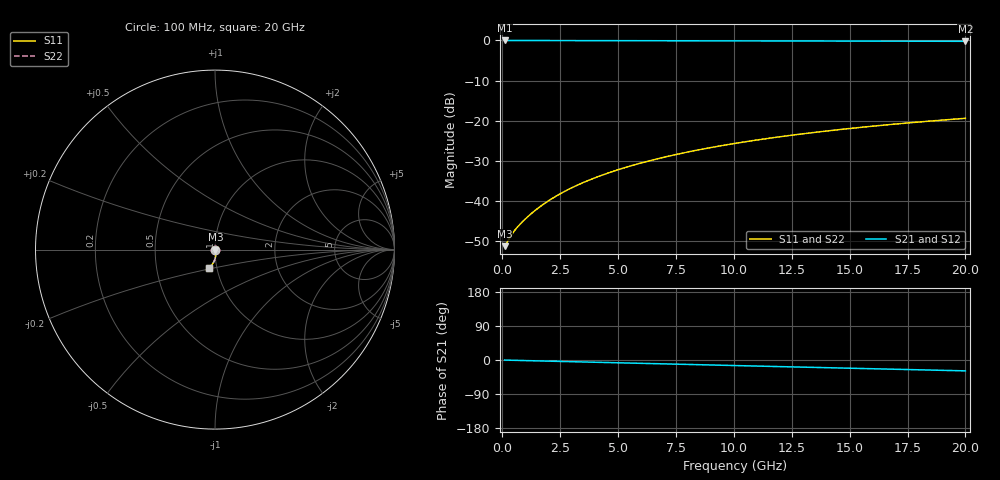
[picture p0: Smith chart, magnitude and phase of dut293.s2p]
! Touchstone file exported from HFSS 2026.1.0
!  File:  C:/ffzhzh/LocalFiles/Ansys_Project_Files/temp_train_BSMRDL_293_1782989334_40604.aedt
!  Generated:  06:49:58 PM Jul  2, 2026
!  Design:  BSMRDL
!  Project:  temp_train_BSMRDL_293_1782989334_40604
! Variables:
!  h_bsmrdl = 3.78um
!  h_ox = 20um
!  h_rdl = 5um
!  h_sub = 80um
!  h_tmrdl = 5um
!  h_tsv = 80um
!  h_via = 3um
!  l_bsmrdl = 498.57um
!  l_sub = 898.57um
!  l_tmrdl = 200um
!  m_sub = 200um
!  pitch = 20.98um
!  r_tsv = 6um
!  s_tmrdl = 10um
!  w_bsmrdl = 18.71um
!  w_sub = 500um
!  w_tmrdl = 12um
!  x_tsv_center1 = 206um
!  x_tsv_center2 = 723.28um
!  x_tsv_center3 = 935.28um
!  x_tsv_center4 = 1452.56um
!  x_tsv_center5 = 1664.56um
!  x_tsv_center6 = 2181.84um
# GHz S MA R 50.000000
! Terminal data exported
! Port[1] = BSM_RDL1_1_T1
! Port[2] = BSM_RDL1_1_T2
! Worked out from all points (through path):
!   200 points, 100 MHz to 20 GHz, reference 50 ohm
!   highest |S21| = -0.02 dB at 100 MHz (marker M1); lowest = -0.2 dB at 20 GHz (marker M2)
!   group delay of S21, straight-line fit = 3.96 ps
!   lowest |S11| = -51.2 dB at 100 MHz (marker M3), VSWR 1.01, Z = 50.3 + j0.0104 ohm
!   |S11| at or under -10 dB: start of sweep to end of sweep
!   |S22| runs from -51.2 to -19.4 dB; largest |S21 - S12| = 2.7e-15
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0.1  0.002741 2.2  0.9973 -0.2  0.9973 -0.2  0.002741 2.2
! Gamma 0 0 0 0
! Port Impedance 50 0 50 0
0.4  0.003802 -7.1  0.9962 -0.7  0.9962 -0.7  0.003803 -7.1
0.6  0.004542 -18.0  0.9957 -1.0  0.9957 -1.0  0.004544 -18.0
0.8  0.005265 -27.7  0.9953 -1.3  0.9953 -1.3  0.005267 -27.7
1  0.006003 -35.6  0.995 -1.6  0.995 -1.6  0.006006 -35.6
1.4  0.007559 -47.3  0.9946 -2.2  0.9946 -2.2  0.007565 -47.3
1.9  0.009645 -56.7  0.9943 -2.9  0.9943 -2.9  0.009654 -56.7
2.4  0.01185 -62.9  0.9939 -3.6  0.9939 -3.6  0.01186 -62.8
2.9  0.01415 -67.3  0.9935 -4.4  0.9935 -4.4  0.01416 -67.2
3.5  0.017 -71.1  0.9929 -5.3  0.9929 -5.3  0.01702 -71.0
4.2  0.02044 -74.5  0.9922 -6.3  0.9922 -6.3  0.02047 -74.3
5  0.02452 -77.4  0.9913 -7.5  0.9913 -7.5  0.02455 -77.3
5.9  0.02924 -80.2  0.9902 -8.8  0.9902 -8.8  0.02928 -80.0
6.8  0.03408 -82.7  0.9891 -10.1  0.9891 -10.1  0.03414 -82.4
7.6  0.03847 -84.6  0.9881 -11.2  0.9881 -11.2  0.03853 -84.4
8.4  0.0429 -86.5  0.9872 -12.4  0.9872 -12.4  0.04298 -86.2
10.1  0.05244 -90.2  0.9851 -14.8  0.9851 -14.8  0.05254 -89.8
11.7  0.06146 -93.4  0.9832 -17.0  0.9832 -17.0  0.06159 -93.0
13.4  0.07103 -96.7  0.9812 -19.4  0.9812 -19.4  0.07118 -96.3
15  0.07995 -99.7  0.9793 -21.7  0.9793 -21.7  0.08014 -99.2
16.7  0.08932 -102.7  0.9773 -24.1  0.9773 -24.1  0.08953 -102.2
20  0.107 -108.3  0.9733 -28.7  0.9733 -28.7  0.1073 -107.7
